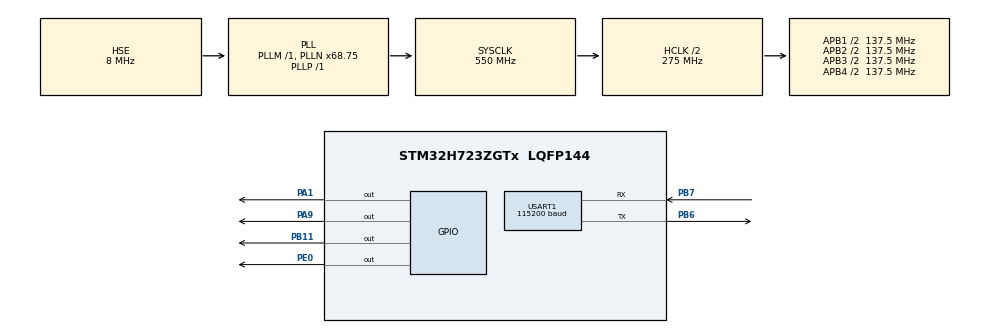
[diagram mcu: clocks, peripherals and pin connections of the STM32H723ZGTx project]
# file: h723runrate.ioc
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CORTEX_M7.default_mode_Activation=1
FREERTOS.Tasks01=defaultTask,24,128,StartDefaultTask,Default,NULL,Dynamic,NULL,NULL;myTask01,25,1024,StartTask01,Default,NULL,Dynamic,NULL,NULL;myTask02,26,1024,StartTask02,Default,NULL,Dynamic,NULL,NULL
FREERTOS.configCHECK_FOR_STACK_OVERFLOW=2
FREERTOS.configENABLE_FPU=1
FREERTOS.configGENERATE_RUN_TIME_STATS=1
FREERTOS.configRECORD_STACK_HIGH_ADDRESS=1
FREERTOS.configTOTAL_HEAP_SIZE=65536
FREERTOS.configUSE_STATS_FORMATTING_FUNCTIONS=1
Mcu.Family=STM32H7
Mcu.Name=STM32H723ZGTx
Mcu.Package=LQFP144
NVIC.PriorityGroup=NVIC_PRIORITYGROUP_4
NVIC.TIM16_IRQn=true\:15\:0\:false\:false\:true\:false\:false\:true\:true
NVIC.TimeBase=TIM16_IRQn
NVIC.TimeBaseIP=TIM16
PA1.Signal=GPIO_Output
PA13(JTMS/SWDIO).Mode=Trace_Asynchronous_SW
PA13(JTMS/SWDIO).Signal=DEBUG_JTMS-SWDIO
PA14(JTCK/SWCLK).Mode=Trace_Asynchronous_SW
PA14(JTCK/SWCLK).Signal=DEBUG_JTCK-SWCLK
PA9.Signal=GPIO_Output
PB11.Signal=GPIO_Output
PB3(JTDO/TRACESWO).Mode=Trace_Asynchronous_SW
PB3(JTDO/TRACESWO).Signal=DEBUG_JTDO-SWO
PB6.Mode=Asynchronous
PB6.Signal=USART1_TX
PB7.Mode=Asynchronous
PB7.Signal=USART1_RX
PE0.Signal=GPIO_Output
PH0-OSC_IN.Mode=HSE-External-Oscillator
PH0-OSC_IN.Signal=RCC_OSC_IN
PH1-OSC_OUT.Mode=HSE-External-Oscillator
PH1-OSC_OUT.Signal=RCC_OSC_OUT
ProjectManager.HeapSize=0x200
ProjectManager.StackSize=0x400
ProjectManager.TargetToolchain=CMake
RCC.ADCFreq_Value=16125000
RCC.APB1Freq_Value=137500000
RCC.APB2Freq_Value=137500000
RCC.APB3Freq_Value=137500000
RCC.APB4Freq_Value=137500000
RCC.CortexFreq_Value=550000000
RCC.D1PPRE=RCC_APB3_DIV2
RCC.D2PPRE1=RCC_APB1_DIV2
RCC.D2PPRE2=RCC_APB2_DIV2
RCC.D3PPRE=RCC_APB4_DIV2
RCC.DIVM1=1
RCC.DIVN1=68
RCC.DIVP1=1
RCC.HCLKFreq_Value=275000000
RCC.HPRE=RCC_HCLK_DIV2
RCC.HSE_VALUE=8000000
RCC.PLL2FRACN=0
RCC.PLL3FRACN=0
RCC.PLLFRACN=6144
RCC.PLLSourceVirtual=RCC_PLLSOURCE_HSE
RCC.SYSCLKFreq_VALUE=550000000
RCC.SYSCLKSource=RCC_SYSCLKSOURCE_PLLCLK
RCC.USART16CLockSelection=RCC_USART16910CLKSOURCE_HSI
RCC.USBFreq_Value=275000000
USART1.BaudRate=115200
USART1.VirtualMode-Asynchronous=VM_ASYNC
VP_FREERTOS_VS_CMSIS_V2.Mode=CMSIS_V2
VP_MEMORYMAP_VS_MEMORYMAP.Mode=CurAppReg
VP_SYS_VS_tim16.Mode=TIM16
VP_TIM23_VS_ClockSourceINT.Mode=Internal
board=custom

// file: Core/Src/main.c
/* USER CODE BEGIN Header */
/**
  ******************************************************************************
  * @file           : main.c
  * @brief          : Main program body
  ******************************************************************************
  * @attention
  *
  * Copyright (c) 2024 STMicroelectronics.
  * All rights reserved.
  *
  * This software is licensed under terms that can be found in the LICENSE file
  * in the root directory of this software component.
  * If no LICENSE file comes with this software, it is provided AS-IS.
  *
  ******************************************************************************
  */
/* USER CODE END Header */
#include "main.h"
#include "cmsis_os.h"
#include "memorymap.h"
#include "tim.h"
#include "usart.h"
#include "gpio.h"

void SystemClock_Config(void);
static void MPU_Config(void);
void MX_FREERTOS_Init(void);

int main(void)
{

  /* MPU Configuration--------------------------------------------------------*/
  MPU_Config();

  /* MCU Configuration--------------------------------------------------------*/

  /* Reset of all peripherals, Initializes the Flash interface and the Systick. */
  HAL_Init();

  /* Configure the system clock */
  SystemClock_Config();

  /* Initialize all configured peripherals */
  MX_GPIO_Init();
  MX_TIM23_Init();
  MX_USART1_UART_Init();
  /* USER CODE BEGIN 2 */
  HAL_TIM_Base_Start(&htim23);
  /* USER CODE END 2 */

  /* Init scheduler */
  osKernelInitialize();

  /* Call init function for freertos objects (in cmsis_os2.c) */
  MX_FREERTOS_Init();

  /* Start scheduler */
  osKernelStart();

  /* We should never get here as control is now taken by the scheduler */

  /* Infinite loop */
  while (1)
  {

    /* USER CODE BEGIN 3 */
    for (volatile long i = 0; i < 1000000; i++) { /* wait */ }
    HAL_GPIO_TogglePin(GPIOE, GPIO_PIN_0);
  }
  /* USER CODE END 3 */
}

void SystemClock_Config(void)
{
  RCC_OscInitTypeDef RCC_OscInitStruct = {0};
  RCC_ClkInitTypeDef RCC_ClkInitStruct = {0};

  /** Supply configuration update enable
  */
  HAL_PWREx_ConfigSupply(PWR_LDO_SUPPLY);

  /** Configure the main internal regulator output voltage
  */
  __HAL_PWR_VOLTAGESCALING_CONFIG(PWR_REGULATOR_VOLTAGE_SCALE0);

  while(!__HAL_PWR_GET_FLAG(PWR_FLAG_VOSRDY)) {}

  /** Initializes the RCC Oscillators according to the specified parameters
  * in the RCC_OscInitTypeDef structure.
  */
  RCC_OscInitStruct.OscillatorType = RCC_OSCILLATORTYPE_HSI|RCC_OSCILLATORTYPE_HSE;
  RCC_OscInitStruct.HSEState = RCC_HSE_ON;
  RCC_OscInitStruct.HSIState = RCC_HSI_DIV1;
  RCC_OscInitStruct.HSICalibrationValue = 64;
  RCC_OscInitStruct.PLL.PLLState = RCC_PLL_ON;
  RCC_OscInitStruct.PLL.PLLSource = RCC_PLLSOURCE_HSE;
  RCC_OscInitStruct.PLL.PLLM = 1;
  RCC_OscInitStruct.PLL.PLLN = 68;
  RCC_OscInitStruct.PLL.PLLP = 1;
  RCC_OscInitStruct.PLL.PLLQ = 2;
  RCC_OscInitStruct.PLL.PLLR = 2;
  RCC_OscInitStruct.PLL.PLLRGE = RCC_PLL1VCIRANGE_3;
  RCC_OscInitStruct.PLL.PLLVCOSEL = RCC_PLL1VCOWIDE;
  RCC_OscInitStruct.PLL.PLLFRACN = 6144;
  if (HAL_RCC_OscConfig(&RCC_OscInitStruct) != HAL_OK)
  {
    Error_Handler();
  }

  /** Initializes the CPU, AHB and APB buses clocks
  */
  RCC_ClkInitStruct.ClockType = RCC_CLOCKTYPE_HCLK|RCC_CLOCKTYPE_SYSCLK
                              |RCC_CLOCKTYPE_PCLK1|RCC_CLOCKTYPE_PCLK2
                              |RCC_CLOCKTYPE_D3PCLK1|RCC_CLOCKTYPE_D1PCLK1;
  RCC_ClkInitStruct.SYSCLKSource = RCC_SYSCLKSOURCE_PLLCLK;
  RCC_ClkInitStruct.SYSCLKDivider = RCC_SYSCLK_DIV1;
  RCC_ClkInitStruct.AHBCLKDivider = RCC_HCLK_DIV2;
  RCC_ClkInitStruct.APB3CLKDivider = RCC_APB3_DIV2;
  RCC_ClkInitStruct.APB1CLKDivider = RCC_APB1_DIV2;
  RCC_ClkInitStruct.APB2CLKDivider = RCC_APB2_DIV2;
  RCC_ClkInitStruct.APB4CLKDivider = RCC_APB4_DIV2;

  if (HAL_RCC_ClockConfig(&RCC_ClkInitStruct, FLASH_LATENCY_3) != HAL_OK)
  {
    Error_Handler();
  }
}

 /* MPU Configuration */

void MPU_Config(void)
{
  MPU_Region_InitTypeDef MPU_InitStruct = {0};

  /* Disables the MPU */
  HAL_MPU_Disable();

  /** Initializes and configures the Region and the memory to be protected
  */
  MPU_InitStruct.Enable = MPU_REGION_ENABLE;
  MPU_InitStruct.Number = MPU_REGION_NUMBER0;
  MPU_InitStruct.BaseAddress = 0x0;
  MPU_InitStruct.Size = MPU_REGION_SIZE_4GB;
  MPU_InitStruct.SubRegionDisable = 0x87;
  MPU_InitStruct.TypeExtField = MPU_TEX_LEVEL0;
  MPU_InitStruct.AccessPermission = MPU_REGION_NO_ACCESS;
  MPU_InitStruct.DisableExec = MPU_INSTRUCTION_ACCESS_DISABLE;
  MPU_InitStruct.IsShareable = MPU_ACCESS_SHAREABLE;
  MPU_InitStruct.IsCacheable = MPU_ACCESS_NOT_CACHEABLE;
  MPU_InitStruct.IsBufferable = MPU_ACCESS_NOT_BUFFERABLE;

  HAL_MPU_ConfigRegion(&MPU_InitStruct);
  /* Enables the MPU */
  HAL_MPU_Enable(MPU_PRIVILEGED_DEFAULT);

}

void HAL_TIM_PeriodElapsedCallback(TIM_HandleTypeDef *htim)
{
  if (htim->Instance == TIM16) {
    HAL_IncTick();
  }
}

void Error_Handler(void)
{
  __disable_irq();
  while (1)
  {
  }
}

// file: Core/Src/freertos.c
/* USER CODE BEGIN Header */
/**
  ******************************************************************************
  * File Name          : freertos.c
  * Description        : Code for freertos applications
  ******************************************************************************
  * @attention
  *
  * Copyright (c) 2024 STMicroelectronics.
  * All rights reserved.
  *
  * This software is licensed under terms that can be found in the LICENSE file
  * in the root directory of this software component.
  * If no LICENSE file comes with this software, it is provided AS-IS.
  *
  ******************************************************************************
  */
/* USER CODE END Header */

#include "FreeRTOS.h"
#include "task.h"
#include "main.h"
#include "cmsis_os.h"

/* USER CODE BEGIN Includes */
#include "tim.h"
#include "usart.h"
#include <stdio.h>
#include <string.h>
#include <stdint.h>
/* USER CODE END Includes */

/* Definitions for defaultTask */
osThreadId_t defaultTaskHandle;
const osThreadAttr_t defaultTask_attributes = {
  .name = "defaultTask",
  .stack_size = 128 * 4,
  .priority = (osPriority_t) osPriorityNormal,
};
/* Definitions for myTask01 */
osThreadId_t myTask01Handle;
const osThreadAttr_t myTask01_attributes = {
  .name = "myTask01",
  .stack_size = 1024 * 4,
  .priority = (osPriority_t) osPriorityNormal1,
};
/* Definitions for myTask02 */
osThreadId_t myTask02Handle;
const osThreadAttr_t myTask02_attributes = {
  .name = "myTask02",
  .stack_size = 1024 * 4,
  .priority = (osPriority_t) osPriorityNormal2,
};

/* USER CODE BEGIN FunctionPrototypes */
volatile uint32_t curr_run = 0xFFFFffff;
volatile uint32_t curr_stamp = 0xFFFFffff;

#define TIMESTAMP_CNT    htim23.Instance->CNT

void dump_log(const char *tag)
{
  uint8_t buf[128];
  snprintf((char *)&buf[0], sizeof(buf), "%s 0x%08lX 0x%08lX\n", tag, curr_run,curr_stamp);
  HAL_UART_Transmit(&huart1, buf, strlen((char *)&buf[0]), 1000);
}

void run_begin(uint32_t run)
{
  curr_run = run;
  curr_stamp = TIMESTAMP_CNT;
  dump_log("begin");
}

void run_end(uint32_t run)
{
  curr_run = run;
  curr_stamp = TIMESTAMP_CNT;
  dump_log("end");
}
/* USER CODE END FunctionPrototypes */

void StartDefaultTask(void *argument);
void StartTask01(void *argument);
void StartTask02(void *argument);

void MX_FREERTOS_Init(void); /* (MISRA C 2004 rule 8.1) */

/* Hook prototypes */
void configureTimerForRunTimeStats(void);
unsigned long getRunTimeCounterValue(void);
void vApplicationStackOverflowHook(xTaskHandle xTask, signed char *pcTaskName);

/* USER CODE BEGIN 1 */
/* Functions needed when configGENERATE_RUN_TIME_STATS is on */
__weak void configureTimerForRunTimeStats(void)
{

}

__weak unsigned long getRunTimeCounterValue(void)
{
return 0;
}
/* USER CODE END 1 */

/* USER CODE BEGIN 4 */
void vApplicationStackOverflowHook(xTaskHandle xTask, signed char *pcTaskName)
{
  /* Run time stack overflow checking is performed if
  configCHECK_FOR_STACK_OVERFLOW is defined to 1 or 2. This hook function is
  called if a stack overflow is detected. */
  (void)xTask;
  (void)pcTaskName;
  for ( ; ; ) { }
}
/* USER CODE END 4 */

void MX_FREERTOS_Init(void) {

  /* Create the thread(s) */
  /* creation of defaultTask */
  defaultTaskHandle = osThreadNew(StartDefaultTask, NULL, &defaultTask_attributes);

  /* creation of myTask01 */
  myTask01Handle = osThreadNew(StartTask01, NULL, &myTask01_attributes);

  /* creation of myTask02 */
  myTask02Handle = osThreadNew(StartTask02, NULL, &myTask02_attributes);

}

void StartDefaultTask(void *argument)
{
  /* USER CODE BEGIN StartDefaultTask */
  (void)argument;
  for ( ; ; ) {
    osDelay(1);
  }
  /* USER CODE END StartDefaultTask */
}

void StartTask01(void *argument)
{
  /* USER CODE BEGIN StartTask01 */
  (void)argument;
  for ( ; ; ) {
    run_begin(0x00010001);
    HAL_GPIO_WritePin(GPIOE, GPIO_PIN_0, GPIO_PIN_SET);
    HAL_Delay(100);
    HAL_GPIO_WritePin(GPIOE, GPIO_PIN_0, GPIO_PIN_RESET);
    run_end(0x00010000);
    osDelay(950);
  }
  /* USER CODE END StartTask01 */
}

void StartTask02(void *argument)
{
  /* USER CODE BEGIN StartTask02 */
  (void)argument;
  for ( ; ; ) {
    run_begin(0x00020002);
    HAL_GPIO_WritePin(GPIOA, GPIO_PIN_1, GPIO_PIN_SET);
    HAL_Delay(150);
    HAL_GPIO_WritePin(GPIOA, GPIO_PIN_1, GPIO_PIN_RESET);
    run_end(0x00020000);
    osDelay(450);

    run_begin(0x00020003);
    HAL_GPIO_WritePin(GPIOA, GPIO_PIN_9, GPIO_PIN_SET);
    HAL_Delay(350);
    HAL_GPIO_WritePin(GPIOA, GPIO_PIN_9, GPIO_PIN_RESET);
    run_end(0x00020000);
    osDelay(450);
  }
  /* USER CODE END StartTask02 */
}

/* USER CODE BEGIN Application */

/*
 * Task control block.  A task control block (TCB) is allocated for each task,
 * and stores task state information, including a pointer to the task's context
 * (the task's run time environment, including register values)
 */
typedef struct tskTaskControlBlock 			/* The old naming convention is used to prevent breaking kernel aware debuggers. */
{
	volatile StackType_t	*pxTopOfStack;	/*< Points to the location of the last item placed on the tasks stack.  THIS MUST BE THE FIRST MEMBER OF THE TCB STRUCT. */

	#if ( portUSING_MPU_WRAPPERS == 1 )
		xMPU_SETTINGS	xMPUSettings;		/*< The MPU settings are defined as part of the port layer.  THIS MUST BE THE SECOND MEMBER OF THE TCB STRUCT. */
	#endif

	ListItem_t			xStateListItem;	/*< The list that the state list item of a task is reference from denotes the state of that task (Ready, Blocked, Suspended ). */
	ListItem_t			xEventListItem;		/*< Used to reference a task from an event list. */
	UBaseType_t			uxPriority;			/*< The priority of the task.  0 is the lowest priority. */
	StackType_t			*pxStack;			/*< Points to the start of the stack. */
	char				pcTaskName[ configMAX_TASK_NAME_LEN ];/*< Descriptive name given to the task when created.  Facilitates debugging only. */ /*lint !e971 Unqualified char types are allowed for strings and single characters only. */

	#if ( ( portSTACK_GROWTH > 0 ) || ( configRECORD_STACK_HIGH_ADDRESS == 1 ) )
		StackType_t		*pxEndOfStack;		/*< Points to the highest valid address for the stack. */
	#endif

	#if ( portCRITICAL_NESTING_IN_TCB == 1 )
		UBaseType_t		uxCriticalNesting;	/*< Holds the critical section nesting depth for ports that do not maintain their own count in the port layer. */
	#endif

	#if ( configUSE_TRACE_FACILITY == 1 )
		UBaseType_t		uxTCBNumber;		/*< Stores a number that increments each time a TCB is created.  It allows debuggers to determine when a task has been deleted and then recreated. */
		UBaseType_t		uxTaskNumber;		/*< Stores a number specifically for use by third party trace code. */
	#endif

	#if ( configUSE_MUTEXES == 1 )
		UBaseType_t		uxBasePriority;		/*< The priority last assigned to the task - used by the priority inheritance mechanism. */
		UBaseType_t		uxMutexesHeld;
	#endif

	#if ( configUSE_APPLICATION_TASK_TAG == 1 )
		TaskHookFunction_t pxTaskTag;
	#endif

	#if( configNUM_THREAD_LOCAL_STORAGE_POINTERS > 0 )
		void			*pvThreadLocalStoragePointers[ configNUM_THREAD_LOCAL_STORAGE_POINTERS ];
	#endif

	#if( configGENERATE_RUN_TIME_STATS == 1 )
		uint32_t		ulRunTimeCounter;	/*< Stores the amount of time the task has spent in the Running state. */
	#endif

	#if ( configUSE_NEWLIB_REENTRANT == 1 )
		/* Allocate a Newlib reent structure that is specific to this task.
		Note Newlib support has been included by popular demand, but is not
		used by the FreeRTOS maintainers themselves.  FreeRTOS is not
		responsible for resulting newlib operation.  User must be familiar with
		newlib and must provide system-wide implementations of the necessary
		stubs. Be warned that (at the time of writing) the current newlib design
		implements a system-wide malloc() that must be provided with locks.

		See the third party link http://www.nadler.com/embedded/newlibAndFreeRTOS.html
		for additional information. */
		struct	_reent xNewLib_reent;
	#endif

	#if( configUSE_TASK_NOTIFICATIONS == 1 )
		volatile uint32_t ulNotifiedValue;
		volatile uint8_t ucNotifyState;
	#endif

	/* See the comments in FreeRTOS.h with the definition of
	tskSTATIC_AND_DYNAMIC_ALLOCATION_POSSIBLE. */
	#if( tskSTATIC_AND_DYNAMIC_ALLOCATION_POSSIBLE != 0 ) /*lint !e731 !e9029 Macro has been consolidated for readability reasons. */
		uint8_t	ucStaticallyAllocated; 		/*< Set to pdTRUE if the task is a statically allocated to ensure no attempt is made to free the memory. */
	#endif

	#if( INCLUDE_xTaskAbortDelay == 1 )
		uint8_t ucDelayAborted;
	#endif

	#if( configUSE_POSIX_ERRNO == 1 )
		int iTaskErrno;
	#endif

} tskTCB;

/* The old tskTCB name is maintained above then typedefed to the new TCB_t name
below to enable the use of older kernel aware debuggers. */
typedef tskTCB TCB_t;

/*lint -save -e956 A manual analysis and inspection has been used to determine
which static variables must be declared volatile. */
extern PRIVILEGED_DATA TCB_t * volatile pxCurrentTCB;

volatile uint32_t prev_run[64] = {
  0xFFFFffff,
  0xFFFFffff,
  0xFFFFffff,
  0xFFFFffff,
  0xFFFFffff,
  0xFFFFffff,
  0xFFFFffff,
  0xFFFFffff,
  0xFFFFffff,
  0xFFFFffff,
  0xFFFFffff,
  0xFFFFffff
};

void Custom_traceTASK_SWITCHED_IN(void)
{
  static uint32_t curr_run_prev = 0xFFFFffff;
  const uint32_t taskin = pxCurrentTCB->uxTCBNumber;
  curr_run = prev_run[taskin];
  curr_stamp = TIMESTAMP_CNT;
  if (curr_run_prev != curr_run) {
    dump_log("in");
  }
  curr_run_prev = curr_run;
}

void Custom_traceTASK_SWITCHED_OUT(void)
{
  static uint32_t curr_run_prev = 0xFFFFffff;
  const uint32_t taskout = pxCurrentTCB->uxTCBNumber;
  prev_run[taskout] = curr_run;
  curr_stamp = TIMESTAMP_CNT;
  if (curr_run_prev != curr_run) {
    dump_log("out");
  }
  curr_run_prev = curr_run;
}
/* USER CODE END Application */
